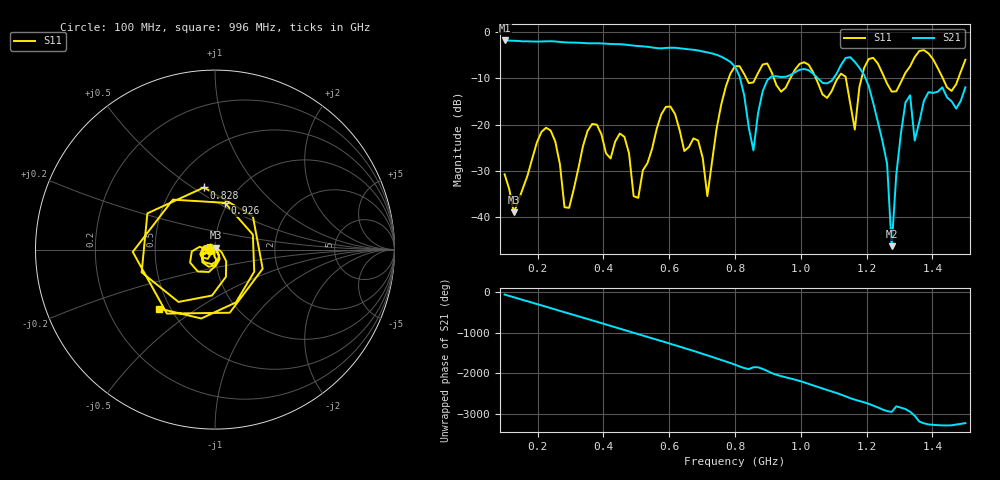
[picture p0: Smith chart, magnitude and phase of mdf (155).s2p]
! NanoVNA-App
! Date: 2025-09-25 15:39:38
! Start: 100MHz Stop: 1,5GHz Points: 101
! S-Parameter data: F S11 S21 S12 S22
# Hz S RI R 50
!  Frequency  S11_Real  S11_Imag  S21_Real  S21_Imag  S12_Real  S12_Imag  S22_Real  S22_Imag
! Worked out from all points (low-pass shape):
!   101 points, 100 MHz to 1.5 GHz, reference 50 ohm
!   highest |S21| = -1.80 dB at 100 MHz (marker M1); lowest = -46.3 dB at 1.276 GHz (marker M2)
!   |S21| within 3 dB of the highest: start of sweep to 739.4 MHz
!   lowest |S11| = -39.0 dB at 128 MHz (marker M3), VSWR 1.02, Z = 50.3 + j1.07 ohm
!   |S11| at or under -10 dB: start of sweep to 781 MHz; 1.046 GHz to 1.112 GHz (66.54 MHz wide, 6.17 % of centre); 1.255 GHz to 1.31 GHz (54.89 MHz wide, 4.28 % of centre) (the widest 3 of 7)
!   S12 and S22 are empty: the file has one direction only
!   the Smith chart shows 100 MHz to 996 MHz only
!   S11 on the Smith chart (normalised r, x): 100 MHz: 0.94, -0.01; 828 MHz: 0.70, +0.56; 926 MHz: 0.97, +0.54; 996 MHz: 0.43, -0.36
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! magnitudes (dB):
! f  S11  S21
! 100 MHz  -30.8  -1.8
! 128 MHz  -39.0  -1.9
! 212 MHz  -21.6  -2.0
! 282 MHz  -37.9  -2.2
! 338 MHz  -24.7  -2.3
! 464 MHz  -22.6  -2.7
! 506 MHz  -35.9  -3.0
! 576 MHz  -17.8  -3.5
! 716 MHz  -35.5  -4.4
! 800 MHz  -7.4  -7.5
! 828 MHz  -9.1  -13.7
! 856 MHz  -10.9  -25.6
! 926 MHz  -11.5  -9.6
! 996 MHz  -6.9  -8.2
! 1.038 GHz  -8.8  -9.0
! 1.164 GHz  -21.1  -6.4
! 1.192 GHz  -7.8  -9.2
! 1.262 GHz  -11.1  -28.4
! 1.276 GHz  -12.9  -46.3
! 1.318 GHz  -8.8  -15.2
! 1.346 GHz  -5.4  -23.5
! 1.5 GHz  -6.0  -11.9
